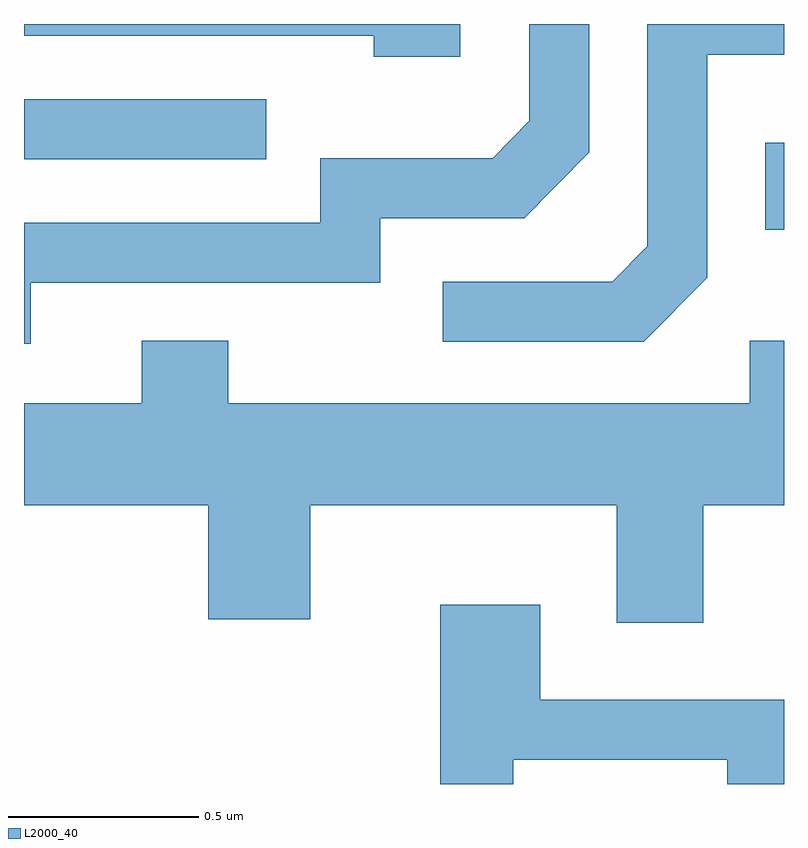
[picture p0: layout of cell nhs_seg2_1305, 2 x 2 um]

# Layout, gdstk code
import gdstk
lib = gdstk.Library(unit=1e-6, precision=1e-09)
def R(c, l, rs):  # rectangles x0, y0, x1, y1
    for r in rs: c.add(gdstk.rectangle(r[:2], r[2:], *l))
def P(c, l, *ps):  # polygons
    for p in ps: c.add(gdstk.Polygon(p, *l))
L2000_40 = (2000, 40)

nhs_seg2_1305 = lib.new_cell('nhs_seg2_1305')
R(nhs_seg2_1305, L2000_40, [(196.561,1051.261,196.611,1051.489), (194.611,1051.446,195.248,1051.604)])
P(nhs_seg2_1305, L2000_40, [(194.629,1051.121),(195.549,1051.121),(195.549,1051.291),(195.927,1051.291),(196.099,1051.464),(196.099,1051.802),(195.941,1051.802),(195.941,1051.547),(195.844,1051.449),(195.391,1051.449),(195.391,1051.279),(194.611,1051.279),(194.611,1050.961),(194.629,1050.961)],
  [(196.409,1051.134),(196.409,1051.721),(196.611,1051.721),(196.611,1051.802),(196.251,1051.802),(196.251,1051.217),(196.159,1051.124),(195.713,1051.124),(195.713,1050.966),(196.242,1050.966)],
  [(195.759,1051.802),(194.611,1051.802),(194.611,1051.771),(195.531,1051.771),(195.531,1051.716),(195.759,1051.716)],
  [(196.399,1050.536),(196.611,1050.536),(196.611,1050.969),(196.521,1050.969),(196.521,1050.804),(195.149,1050.804),(195.149,1050.969),(194.921,1050.969),(194.921,1050.804),(194.611,1050.804),(194.611,1050.536),(195.096,1050.536),(195.096,1050.236),(195.364,1050.236),(195.364,1050.536),(196.171,1050.536),(196.171,1050.226),(196.399,1050.226)],
  [(195.899,1049.866),(196.461,1049.866),(196.461,1049.802),(196.611,1049.802),(196.611,1050.024),(195.969,1050.024),(195.969,1050.274),(195.706,1050.274),(195.706,1049.802),(195.899,1049.802)])

lib.write_gds('nhs_seg2_1305.gds')
